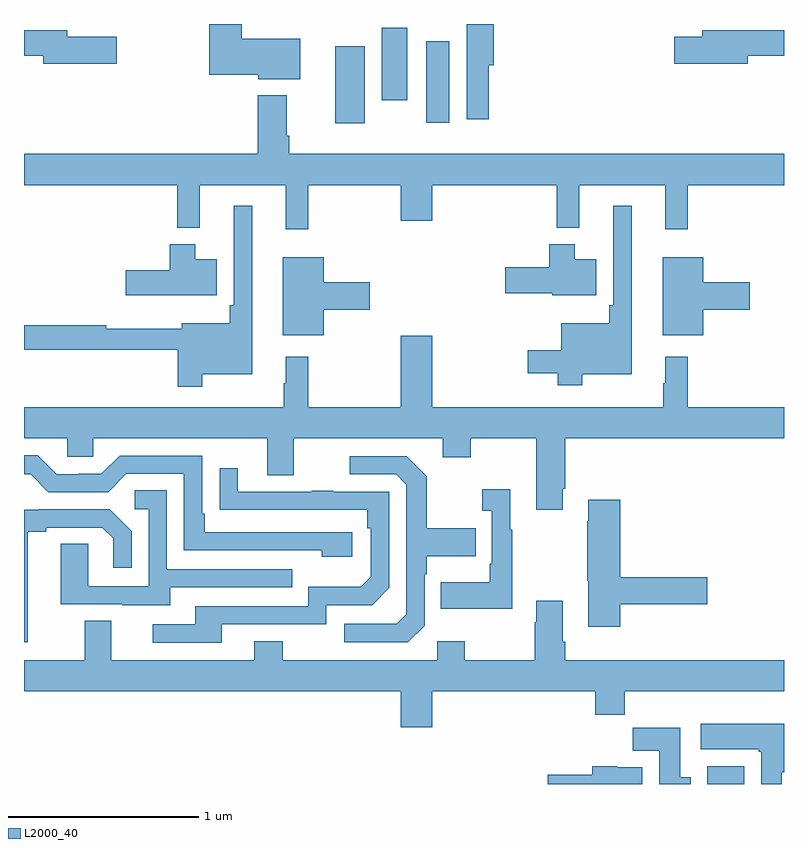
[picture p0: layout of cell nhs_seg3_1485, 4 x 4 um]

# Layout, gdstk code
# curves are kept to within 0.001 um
import gdstk
lib = gdstk.Library(unit=1e-6, precision=1e-09)
def R(c, l, rs):  # rectangles x0, y0, x1, y1
    for r in rs: c.add(gdstk.rectangle(r[:2], r[2:], *l))
def P(c, l, *ps):  # polygons
    for p in ps: c.add(gdstk.Polygon(p, *l))
L2000_40 = (2000, 40)

nhs_seg3_1485 = lib.new_cell('nhs_seg3_1485')
R(nhs_seg3_1485, L2000_40, [(190.595,728.4,190.792,728.494), (188.639,731.877,188.794,732.283), (189.116,731.88,189.238,732.31), (188.882,732,189.016,732.38)])
P(nhs_seg3_1485, L2000_40, [(189.446,732.182),(189.473,732.182),(189.473,732.4),(189.33,732.4),(189.33,731.898),(189.446,731.898)],
  [(188.455,732.322),(188.146,732.322),(188.146,732.4),(187.976,732.4),(187.976,732.134),(188.232,732.134),(188.232,732.11),(188.455,732.11)],
  [(190.81,732.232),(191,732.232),(191,732.368),(190.571,732.368),(190.571,732.332),(190.422,732.332),(190.422,732.19),(190.81,732.19)],
  [(187.489,732.332),(187.228,732.332),(187.228,732.368),(187,732.368),(187,732.232),(187.1,732.232),(187.1,732.19),(187.489,732.19)],
  [(188.495,731.552),(188.984,731.552),(188.984,731.364),(189.148,731.364),(189.148,731.552),(189.805,731.552),(189.805,731.327),(189.923,731.327),(189.923,731.552),(190.376,731.552),(190.376,731.319),(190.493,731.319),(190.493,731.552),(191,731.552),(191,731.716),(188.396,731.716),(188.396,731.812),(188.383,731.812),(188.383,732.025),(188.231,732.025),(188.231,731.716),(187,731.716),(187,731.552),(187.807,731.552),(187.807,731.327),(187.925,731.327),(187.925,731.552),(188.378,731.552),(188.378,731.319),(188.495,731.319)],
  [(187.939,730.556),(188.2,730.556),(188.2,731.443),(188.103,731.443),(188.103,730.921),(188.083,730.921),(188.083,730.825),(187.829,730.825),(187.829,730.795),(187.433,730.795),(187.433,730.814),(187,730.814),(187,730.686),(187.81,730.686),(187.81,730.491),(187.939,730.491)],
  [(189.937,730.556),(190.198,730.556),(190.198,731.443),(190.101,731.443),(190.101,730.921),(190.081,730.921),(190.081,730.825),(189.827,730.825),(189.827,730.684),(189.651,730.684),(189.651,730.562),(189.808,730.562),(189.808,730.499),(189.937,730.499)],
  [(190.012,731.161),(189.898,731.161),(189.898,731.242),(189.764,731.242),(189.764,731.121),(189.534,731.121),(189.534,730.984),(189.78,730.984),(189.78,730.973),(190.012,730.973)],
  [(188.014,731.161),(187.9,731.161),(187.9,731.242),(187.766,731.242),(187.766,731.103),(187.536,731.103),(187.536,730.973),(188.014,730.973)],
  [(190.576,730.895),(190.819,730.895),(190.819,731.042),(190.576,731.042),(190.576,731.173),(190.361,731.173),(190.361,730.763),(190.576,730.763)],
  [(188.578,730.895),(188.821,730.895),(188.821,731.042),(188.578,731.042),(188.578,731.173),(188.363,731.173),(188.363,730.763),(188.578,730.763)],
  [(189.835,729.955),(189.848,729.955),(189.848,730.22),(191,730.22),(191,730.384),(190.493,730.384),(190.493,730.648),(190.376,730.648),(190.376,730.508),(190.365,730.508),(190.365,730.384),(189.148,730.384),(189.148,730.759),(188.984,730.759),(188.984,730.384),(188.495,730.384),(188.495,730.648),(188.378,730.648),(188.378,730.508),(188.367,730.508),(188.367,730.384),(187,730.384),(187,730.22),(187.227,730.22),(187.227,730.122),(187.365,730.122),(187.365,730.22),(188.279,730.22),(188.279,730.026),(188.419,730.026),(188.419,730.22),(189.203,730.22),(189.203,730.121),(189.351,730.121),(189.351,730.22),(189.695,730.22),(189.695,729.843),(189.835,729.843)],
  [(188.728,729.726),(187.951,729.726),(187.951,729.823),(187.938,729.823),(187.938,730.128),(187.503,730.128),(187.407,730.032),(187.289,730.032),(187.289,730.029),(187.173,730.029),(187.073,730.129),(187,730.129),(187,730.029),(187.035,730.029),(187.128,729.936),(187.443,729.936),(187.539,730.032),(187.842,730.032),(187.842,729.63),(188.567,729.63),(188.567,729.596),(188.728,729.596)],
  [(189.108,729.234),(189.108,729.503),(189.121,729.503),(189.121,729.599),(189.377,729.599),(189.377,729.747),(189.121,729.747),(189.121,730.019),(189.015,730.125),(188.715,730.125),(188.715,730.029),(188.958,730.029),(189.012,729.975),(189.012,729.294),(188.961,729.243),(188.685,729.243),(188.685,729.147),(189.021,729.147)],
  [(188.041,729.24),(188.592,729.24),(188.592,729.342),(188.832,729.342),(188.922,729.432),(188.922,729.939),(188.627,729.939),(188.627,729.944),(188.515,729.944),(188.515,729.939),(188.125,729.939),(188.125,730.063),(188.029,730.063),(188.029,729.844),(188.806,729.843),(188.806,729.746),(188.826,729.746),(188.826,729.492),(188.773,729.439),(188.496,729.439),(188.496,729.336),(187.901,729.336),(187.901,729.24),(187.677,729.24),(187.677,729.144),(188.041,729.144)],
  [(189.571,729.739),(189.559,729.739),(189.559,729.952),(189.411,729.952),(189.411,729.839),(189.462,729.839),(189.462,729.559),(189.45,729.559),(189.45,729.463),(189.193,729.463),(189.193,729.323),(189.571,729.323)],
  [(187.771,729.435),(188.411,729.435),(188.411,729.531),(187.752,729.531),(187.752,729.947),(187.584,729.947),(187.584,729.846),(187.656,729.846),(187.656,729.441),(187.338,729.441),(187.338,729.665),(187.193,729.665),(187.193,729.345),(187.517,729.345),(187.517,729.341),(187.771,729.341)],
  [(190.139,729.346),(190.597,729.346),(190.597,729.488),(190.139,729.488),(190.139,729.895),(189.971,729.895),(189.971,729.782),(189.964,729.782),(189.964,729.471),(189.971,729.471),(189.971,729.228),(190.139,729.228)],
  [(187.021,729.728),(187.117,729.728),(187.117,729.75),(187.412,729.75),(187.469,729.693),(187.469,729.537),(187.566,729.537),(187.566,729.73),(187.45,729.846),(187.078,729.846),(187.078,729.843),(187,729.843),(187,729.147),(187.021,729.147)],
  [(189.148,728.888),(190.007,728.888),(190.007,728.764),(190.163,728.764),(190.163,728.888),(191,728.888),(191,729.052),(189.848,729.052),(189.848,729.148),(189.835,729.148),(189.835,729.364),(189.695,729.364),(189.695,729.251),(189.688,729.251),(189.688,729.052),(189.321,729.052),(189.321,729.151),(189.174,729.151),(189.174,729.052),(188.361,729.052),(188.361,729.151),(188.213,729.151),(188.213,729.052),(187.459,729.052),(187.459,729.26),(187.319,729.26),(187.319,729.052),(187,729.052),(187,728.888),(188.984,728.888),(188.984,728.7),(189.148,728.7)],
  [(190.987,728.462),(191,728.462),(191,728.716),(190.563,728.716),(190.563,728.582),(190.867,728.582),(190.867,728.569),(190.88,728.569),(190.88,728.4),(190.987,728.4)],
  [(190.51,728.436),(190.453,728.436),(190.453,728.695),(190.204,728.695),(190.204,728.576),(190.343,728.576),(190.343,728.4),(190.51,728.4)],
  [(190.255,728.488),(190.122,728.488),(190.122,728.494),(189.992,728.494),(189.992,728.448),(189.756,728.448),(189.756,728.4),(190.255,728.4)])

lib.write_gds('nhs_seg3_1485.gds')
